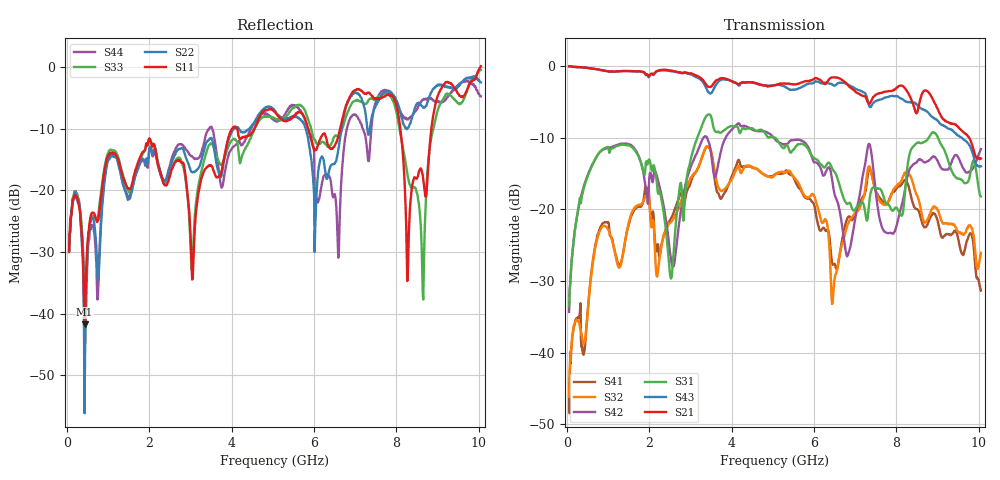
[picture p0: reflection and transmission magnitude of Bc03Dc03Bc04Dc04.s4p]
!  COPYRIGHT, TYCO ELECTRONICS  !
!  ALL INTERNATIONAL RIGHTS RESERVED  !
!! These models are covered by a licensing agreement that restricts  !
!! their use and distribution.  If you have questions about the  !
!! restrictions, contact the appropriate organization within  !
!! your company  !
! THESE MODELS REPRESENT TEC/AMP CONNECTORS ONLY. DUE TO INTERNAL  !
! DESIGN AND MATERIALS, THEY SHOULD NOT BE USED FOR PRODUCTS  !
! MANUFACTURED BY COMPANIES OTHER THAN AMP.  !
! CHECK WITH TEC/AMP FOR THE MOST CURRENT MODEL SET  !
! FOR MORE INFORMATION, EMAIL: modeling@tycoelectronics.com  !
!  URL:  http://www.amp.com/simulation/  !
! PRODUCT INFORMATION CENTER:  1-800-522-6752  !
! Each file is named 'Port1Port2Port3Port4.s4p', where port 1 and  !
! port 3 are input ports and port 2 and port 4 are output ports.  !
! For example, Ba05Da05Bb05Db05.s4p would have port 1 at backplane (B) a5 !
! port 2 at daughtercard (D) a5, port 3 at backplane (B) b5,  !
! and port 4 at daughtercard (D) b5.  !
! Keep in mind that each file is the throughput for  !
! footprint-connector-footprint.  Test board traces are calibrated out,  !
! but the s-parameters include a signal path that goes through the  !
! connector footprint in a given thickness board, the connector itself,  !
! and the connector footprint in a second board.  !
! A zero Hertz interpolation data point has been added for convenience.  !
! Connector: Z-DOK, 0.050" PITCH,  4 ROW, RIGHT ANGLE PLUG TO RIGHT ANGLE RECEPTACLE
! Pins  : C3C4
! Board  : 0.093" Thick FR4
! Filename : BC03DC03BC04DC04.s4p
! Rev Date : 9/15/02
! Status  : VALIDATED MEASURED MODEL
! Structure: 4 Port S-parameter
! Rating  : 50 MHz to 10.05 GHz
! Transform Limits : 50 ps Min. Time Resolution 1/(2*MaxFreq)
# HZ  S  MA R  50
! FREQ  S11  S12  S13  S14
!  S21  S22  S23  S24
!  S31  S32  S33  S34
!  S41  S42  S43  S44
!  MAG  ANG  MAG  ANG  MAG  ANG  MAG  ANG
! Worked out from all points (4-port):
!   801 points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, 50 MHz to 10.05 GHz, reference 50 ohm
!   strongest paths, dB at 50 MHz, 2.55 GHz, 5.05 GHz, 7.55 GHz, 10.05 GHz:
!     S21: -0.1, -0.7, -2.7, -3.9, -12.9
!     S43: 0.0, -0.8, -2.7, -4.8, -14.0
!     S31: -33.6, -28.9, -10.0, -17.1, -18.2
!     S42: -34.3, -27.9, -10.2, -19.9, -11.6
!     S32: -46.1, -21.6, -15.3, -18.3, -26.1
!     S41: -44.2, -21.0, -15.1, -18.0, -31.3
!   lowest |S11| = -41.7 dB at 425 MHz (marker M1), VSWR 1.02, Z = 50.8 - j0.152 ohm
!   |S11| at or under -10 dB: start of sweep to 4.011 GHz; 5.855 GHz to 6.634 GHz (778.9 MHz wide, 12.5 % of centre); 8.094 GHz to 8.847 GHz (753.5 MHz wide, 8.9 % of centre)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
5e7  0.03182 74.1  0.9933 -3.7  0.01964 81.0  0.006113 -107.2
     0.9924 -3.4  0.03634 61.4  0.00464 -52.9  0.02075 82.8
     0.02101 76.9  0.004941 -97.8  0.0315 77.4  0.9919 -3.5
     0.00614 -135.0  0.01925 82.7  0.9958 -3.3  0.03247 67.3
4.25e8  0.008186 -10.5  0.973 -33.9  0.1462 55.4  0.01058 -128.4
        0.9733 -33.9  0.001555 57.2  0.01173 -135.1  0.1502 55.3
        0.1463 55.4  0.0119 -134.9  0.01201 15.0  0.9733 -34.1
        0.01046 -129.7  0.1503 55.2  0.9722 -34.1  0.008259 51.0
2.35e9  0.1122 -103.5  0.9396 -177.1  0.09326 -103.5  0.06598 74.4
        0.9387 -176.9  0.1206 -77.6  0.06619 77.2  0.1041 -65.6
        0.09365 -103.3  0.06633 76.9  0.1158 -104.4  0.9301 -178.7
        0.06609 74.6  0.1044 -65.6  0.932 -178.7  0.1192 -75.2
4.575e9  0.3305 -69.3  0.7559 18.5  0.3522 -77.3  0.1914 -142.0
         0.7597 18.6  0.3657 -94.2  0.1934 -143.8  0.3511 -77.3
         0.3534 -77.2  0.1922 -143.9  0.3239 -73.0  0.7519 15.9
         0.1923 -142.0  0.353 -77.2  0.7563 15.8  0.3619 -96.0
6.825e9  0.5355 -96.2  0.7302 -159.1  0.109 178.3  0.08794 71.6
         0.7315 -158.9  0.5233 -64.0  0.07966 73.7  0.04846 162.7
         0.1095 178.1  0.07934 73.5  0.4378 -125.3  0.7394 -161.4
         0.08819 71.4  0.0484 162.5  0.7406 -161.3  0.3442 -54.1
8.6375e9  0.1328 99.7  0.6498 67.9  0.29 127.9  0.07795 159.2
          0.6521 68.0  0.4723 -116.9  0.0866 153.8  0.216 143.7
          0.2906 127.7  0.08662 154.2  0.01493 4.1  0.498 47.0
          0.07829 159.1  0.2158 143.9  0.498 47.0  0.5378 -112.4
1.005e10  1.013 -111.5  0.2278 -31.4  0.1242 48.0  0.0276 -80.3
          0.2261 -32.3  0.7485 -124.8  0.04939 -82.3  0.2654 80.4
          0.1229 47.2  0.04967 -81.1  0.9445 -125.4  0.2017 -49.0
          0.02714 -80.2  0.2629 79.8  0.1993 -49.6  0.5769 -142.0
